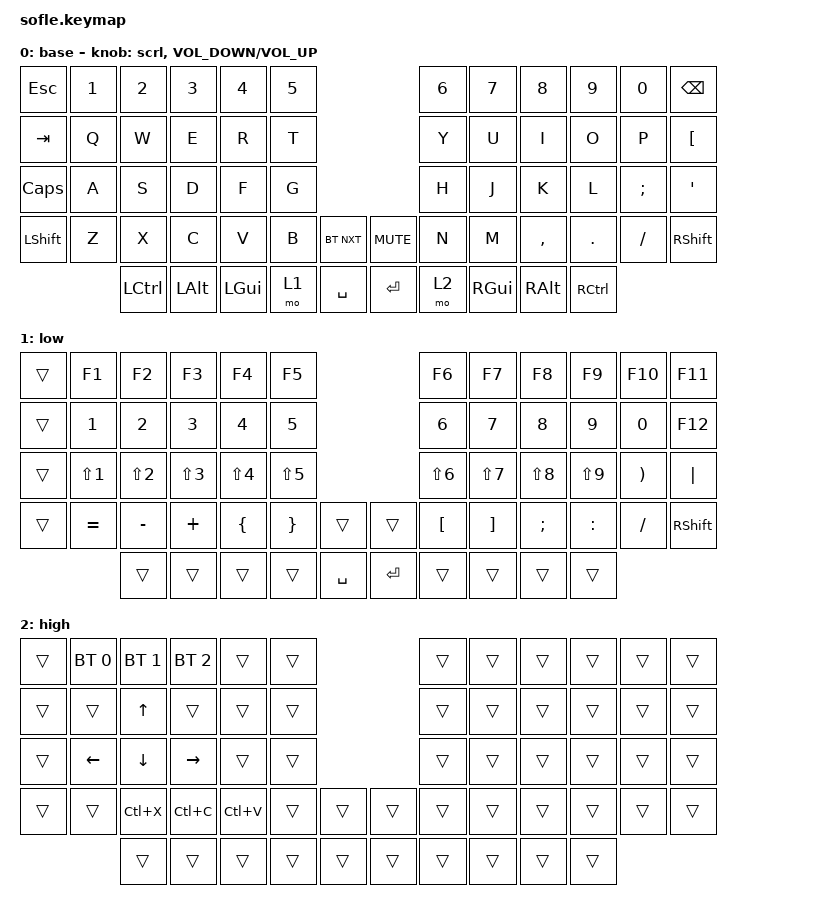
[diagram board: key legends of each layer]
#include <behaviors.dtsi>
#include <dt-bindings/zmk/bt.h>
#include <dt-bindings/zmk/keys.h>
#include <dt-bindings/zmk/pointing.h>

/ {
    behaviors {
        left_right_scroll: left_right_scroll {
            compatible = "zmk,behavior-sensor-rotate-var";
            label = "LEFT_RIGHT_SCROLL";
            #sensor-binding-cells = <2>;
            bindings = <&msc>, <&msc>;
        };
        scrl: scrl {
            compatible = "zmk,behavior-sensor-rotate";
            label = "SCRL";
            #sensor-binding-cells = <0>;
            bindings = <&msc SCRL_LEFT>, <&msc SCRL_RIGHT>;
        };
    };


    keymap {
        compatible = "zmk,keymap";

        base {
            bindings = <
&kp ESC    &kp N1  &kp N2     &kp N3    &kp N4    &kp N5                            &kp N6  &kp N7    &kp N8     &kp N9     &kp N0    &kp BACKSPACE
&kp TAB    &kp Q   &kp W      &kp E     &kp R     &kp T                             &kp Y   &kp U     &kp I      &kp O      &kp P     &kp LEFT_BRACKET
&kp CAPS   &kp A   &kp S      &kp D     &kp F     &kp G                             &kp H   &kp J     &kp K      &kp L      &kp SEMI  &kp APOS
&kp LSHFT  &kp Z   &kp X      &kp C     &kp V     &kp B   &bt BT_NXT    &kp K_MUTE  &kp N   &kp M     &kp COMMA  &kp DOT    &kp FSLH  &kp RSHFT
                   &kp LCTRL  &kp LALT  &kp LGUI  &mo 1   &kp SPACE     &kp ENTER   &mo 2   &kp RGUI  &kp RALT   &kp RCTRL
            >;

            sensor-bindings =
                <&scrl>,
                <&inc_dec_kp C_VOLUME_DOWN C_VOLUME_UP>;
        };

        low {
            bindings = <
&trans  &kp F1      &kp F2      &kp F3      &kp F4      &kp F5                              &kp F6      &kp F7      &kp F8      &kp F9      &kp F10   &kp F11
&trans  &kp N1      &kp N2      &kp N3      &kp N4      &kp N5                              &kp N6      &kp N7      &kp N8      &kp N9      &kp N0    &kp F12
&trans  &kp LS(N1)  &kp LS(N2)  &kp LS(N3)  &kp LS(N4)  &kp LS(N5)                          &kp LS(N6)  &kp LS(N7)  &kp LS(N8)  &kp LS(N9)  &kp RPAR  &kp PIPE
&trans  &kp EQUAL   &kp MINUS   &kp PLUS    &kp LBRC    &kp RBRC    &trans       &trans     &kp LBKT    &kp RBKT    &kp SEMI    &kp COLON   &kp FSLH  &kp RSHFT
                    &trans      &trans      &trans      &trans      &kp SPACE    &kp ENTER  &trans      &trans      &trans      &trans
            >;
        };

        high {
            bindings = <
&trans  &bt BT_SEL 0  &bt BT_SEL 1  &bt BT_SEL 2  &trans       &trans                    &trans  &trans  &trans  &trans  &trans  &trans
&trans  &trans        &kp UP        &trans        &trans       &trans                    &trans  &trans  &trans  &trans  &trans  &trans
&trans  &kp LEFT      &kp DOWN      &kp RIGHT     &trans       &trans                    &trans  &trans  &trans  &trans  &trans  &trans
&trans  &trans        &kp LC(X)     &kp LC(C)     &kp LC(V)  &trans  &trans    &trans  &trans  &trans  &trans  &trans  &trans  &trans
                      &trans        &trans        &trans       &trans  &trans    &trans  &trans  &trans  &trans  &trans
            >;
        };
    };
};
